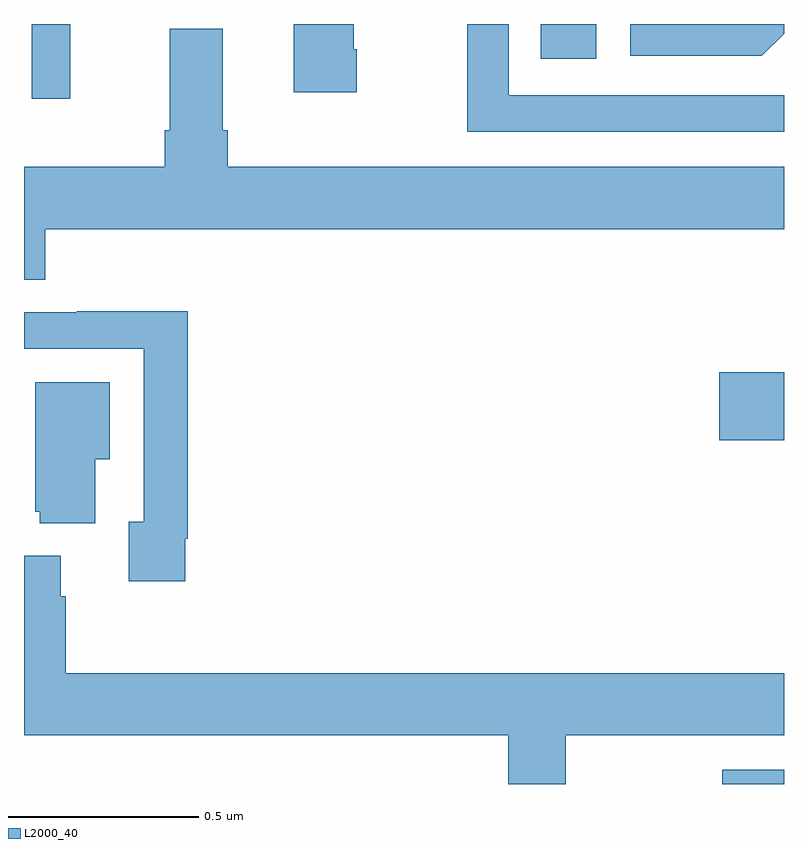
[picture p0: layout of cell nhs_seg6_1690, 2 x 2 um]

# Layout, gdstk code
import gdstk
lib = gdstk.Library(unit=1e-6, precision=1e-09)
def R(c, l, rs):  # rectangles x0, y0, x1, y1
    for r in rs: c.add(gdstk.rectangle(r[:2], r[2:], *l))
def P(c, l, *ps):  # polygons
    for p in ps: c.add(gdstk.Polygon(p, *l))
L2000_40 = (2000, 40)

nhs_seg6_1690 = lib.new_cell('nhs_seg6_1690')
R(nhs_seg6_1690, L2000_40, [(133.838,988.5,134,988.537), (133.83,989.405,134,989.583), (132.02,990.303,132.122,990.5), (133.36,990.408,133.506,990.5)])
P(nhs_seg6_1690, L2000_40, [(134,990.475),(134,990.5),(133.596,990.5),(133.596,990.417),(133.942,990.417)],
  [(134,990.312),(133.275,990.312),(133.275,990.5),(133.167,990.5),(133.167,990.216),(134,990.216)],
  [(132.876,990.433),(132.868,990.433),(132.868,990.5),(132.71,990.5),(132.71,990.321),(132.876,990.321)],
  [(132.056,989.96),(134,989.96),(134,990.124),(132.536,990.124),(132.536,990.22),(132.523,990.22),(132.523,990.487),(132.383,990.487),(132.383,990.22),(132.371,990.22),(132.371,990.124),(132,990.124),(132,989.827),(132.056,989.827)],
  [(132.424,989.146),(132.431,989.146),(132.431,989.744),(132.139,989.744),(132.139,989.742),(132,989.742),(132,989.646),(132.315,989.646),(132.315,989.19),(132.275,989.19),(132.275,989.034),(132.424,989.034)],
  [(132.187,989.354),(132.226,989.354),(132.226,989.557),(132.029,989.557),(132.029,989.217),(132.041,989.217),(132.041,989.186),(132.187,989.186)],
  [(133.426,988.628),(134,988.628),(134,988.792),(132.11,988.792),(132.11,988.994),(132.097,988.994),(132.097,989.101),(132,989.101),(132,988.628),(133.274,988.628),(133.274,988.5),(133.426,988.5)])

lib.write_gds('nhs_seg6_1690.gds')
